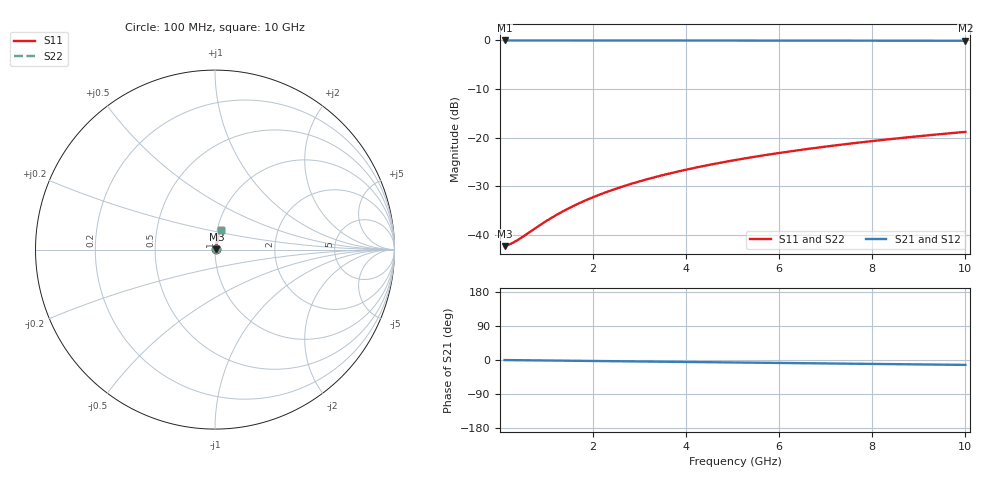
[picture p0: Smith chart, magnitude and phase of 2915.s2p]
# Hz S RI R 50.00
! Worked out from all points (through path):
!   100 points, 100 MHz to 10 GHz, reference 50 ohm
!   highest |S21| = -0.07 dB at 100 MHz (marker M1); lowest = -0.1 dB at 10 GHz (marker M2)
!   group delay of S21, straight-line fit = 3.59 ps
!   lowest |S11| = -42.3 dB at 100 MHz (marker M3), VSWR 1.02, Z = 50.8 + j0.116 ohm
!   |S11| at or under -10 dB: start of sweep to end of sweep
!   |S22| runs from -42.3 to -18.8 dB; largest |S21 - S12| = 0
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1e8  0.00762 0.00114  0.9924 -0.00224  0.9924 -0.00224  0.00762 0.00114
2e8  0.00767 0.00228  0.9923 -0.00449  0.9923 -0.00449  0.00767 0.00228
3e8  0.00772 0.00342  0.9923 -0.00673  0.9923 -0.00673  0.00772 0.00342
4e8  0.00777 0.00456  0.9922 -0.00898  0.9922 -0.00898  0.00777 0.00456
9e8  0.00804 0.0103  0.9919 -0.0202  0.9919 -0.0202  0.00804 0.0103
1.2e9  0.00825 0.0137  0.9917 -0.0269  0.9917 -0.0269  0.00825 0.0137
1.5e9  0.00849 0.0171  0.9914 -0.0336  0.9914 -0.0336  0.00849 0.0171
1.8e9  0.00878 0.0205  0.991 -0.0404  0.991 -0.0404  0.00878 0.0205
2.1e9  0.00911 0.0239  0.9906 -0.0471  0.9906 -0.0471  0.00911 0.0239
2.5e9  0.00962 0.0284  0.99 -0.056  0.99 -0.056  0.00962 0.0284
2.9e9  0.0102 0.0329  0.9892 -0.0649  0.9892 -0.0649  0.0102 0.0329
3.4e9  0.0111 0.0385  0.9882 -0.0761  0.9882 -0.0761  0.0111 0.0385
3.8e9  0.0118 0.043  0.9873 -0.085  0.9873 -0.085  0.0118 0.043
4.2e9  0.0127 0.0475  0.9862 -0.0939  0.9862 -0.0939  0.0127 0.0475
4.6e9  0.0136 0.0519  0.9851 -0.1028  0.9851 -0.1028  0.0136 0.0519
5.1e9  0.0149 0.0575  0.9835 -0.1138  0.9835 -0.1138  0.0149 0.0575
5.9e9  0.0171 0.0663  0.9807 -0.1314  0.9807 -0.1314  0.0171 0.0663
6.7e9  0.0197 0.0749  0.9774 -0.149  0.9774 -0.149  0.0197 0.0749
7.5e9  0.0226 0.0835  0.9738 -0.1664  0.9738 -0.1664  0.0226 0.0835
8.4e9  0.0263 0.093  0.9693 -0.1859  0.9693 -0.1859  0.0263 0.093
9.2e9  0.0298 0.1013  0.9649 -0.203  0.9649 -0.203  0.0298 0.1013
1e10  0.0336 0.1095  0.9601 -0.22  0.9601 -0.22  0.0336 0.1095
